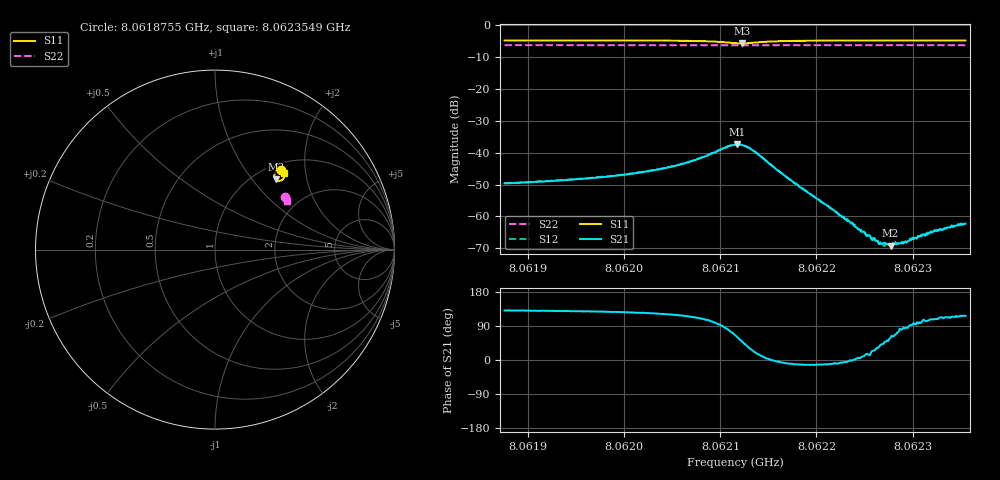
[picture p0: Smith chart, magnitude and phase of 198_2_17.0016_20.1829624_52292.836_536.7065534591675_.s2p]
#  HZ  S  RI  R  50.00
! Rohde & Schwarz Vector Network Analyzer
! Rohde-Schwarz,ZNB20-2Port,1311601062101988,3.16
! Created: UTC 3/20/2024, 11:00:56 PM
! freq[Hz]  re:S11  im:S11  re:S21  im:S21  re:S12  im:S12  re:S22  im:S22
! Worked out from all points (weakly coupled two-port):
!   401 points, 8.0618755 GHz to 8.0623549 GHz, reference 50 ohm
!   highest |S21| = -37.41 dB at 8.0621176 GHz (marker M1); lowest = -69.1 dB at 8.062277 GHz (marker M2)
!   lowest |S11| = -5.7 dB at 8.0621224 GHz (marker M3), VSWR 3.14, Z = 62.1 + j66.2 ohm
!   |S11| at or under -10 dB: nowhere
!   |S22| runs from -6.3 to -6.3 dB; largest |S21 - S12| = 0.001
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8.06187547e9  0.3685 0.4424  -0.00214 0.0025  -0.00204 0.00265  0.3874 0.2941
8.06195578e9  0.3747 0.4366  -0.00243 0.00303  -0.00224 0.00322  0.3903 0.2902
8.06199773e9  0.3784 0.4324  -0.00266 0.00361  -0.00248 0.00381  0.3918 0.2878
8.06203609e9  0.3826 0.4262  -0.00292 0.00463  -0.00264 0.00484  0.3931 0.2857
8.06206845e9  0.3859 0.416  -0.003 0.00656  -0.00262 0.00684  0.3941 0.2839
8.06209722e9  0.3812 0.3952  -0.000924 0.0106  -0.000441 0.0108  0.3945 0.2818
8.0621152e9  0.3539 0.3833  0.00552 0.0121  0.00628 0.0119  0.3936 0.2809
8.0621176e9  0.3484 0.3847  0.00669 0.0117  0.00749 0.0114  0.3935 0.2809
8.06212239e9  0.3387 0.3907  0.00875 0.01  0.0094 0.00947  0.3934 0.2811
8.06213558e9  0.3308 0.4175  0.00976 0.00372  0.00996 0.00324  0.3939 0.2816
8.06216195e9  0.3507 0.4384  0.00494 -0.000461  0.00495 -0.000784  0.3959 0.2811
8.06219551e9  0.3654 0.4387  0.00208 -0.000454  0.00206 -0.000614  0.3976 0.2794
8.06223627e9  0.3739 0.4355  0.000802 -2.89e-05  0.000783 -0.00011  0.3992 0.2771
8.06224466e9  0.3751 0.4349  0.000615 5.56e-05  0.00063 9.94e-06  0.3994 0.2768
8.06226384e9  0.3775 0.4334  0.000343 0.000217  0.000365 0.000205  0.4001 0.2757
8.06226863e9  0.3779 0.4332  0.000273 0.000251  0.000289 0.000258  0.4003 0.2754
8.06227582e9  0.3788 0.4326  0.000197 0.000294  0.000228 0.000284  0.4005 0.275
8.06227702e9  0.3789 0.4327  0.000183 0.000297  0.000206 0.000273  0.4005 0.275
8.06228901e9  0.3801 0.4317  6.32e-05 0.000387  9.13e-05 0.00039  0.4011 0.2743
8.06232257e9  0.3831 0.4296  -0.000179 0.00056  -0.000135 0.000587  0.402 0.2727
8.06234774e9  0.3852 0.428  -0.000323 0.000687  -0.000284 0.000659  0.4029 0.2713
8.06235494e9  0.3858 0.4275  -0.000341 0.000691  -0.000324 0.000721  0.4031 0.2712
